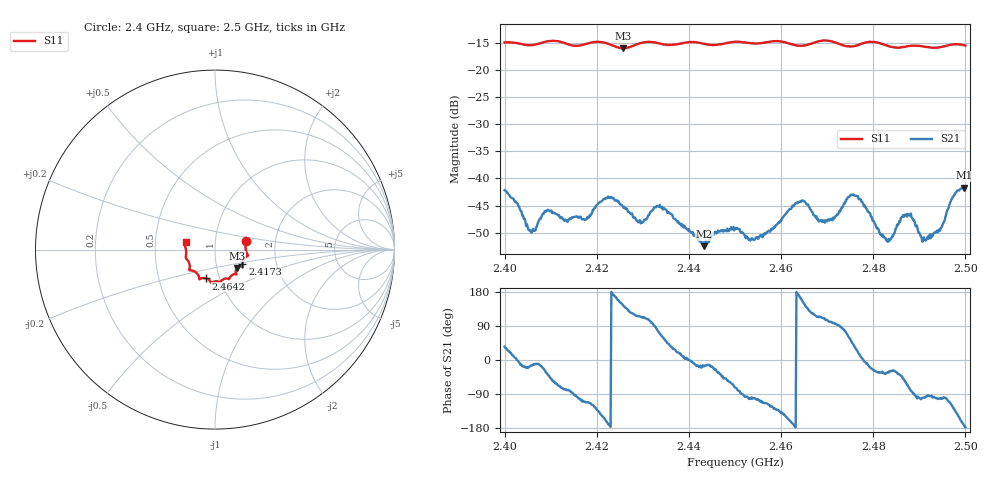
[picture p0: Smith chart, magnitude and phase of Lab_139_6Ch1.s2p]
# Hz S RI R 50
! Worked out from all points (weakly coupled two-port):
!   601 points, 2.4 GHz to 2.5 GHz, reference 50 ohm
!   highest |S21| = -41.70 dB at 2.4997 GHz (marker M1); lowest = -52.5 dB at 2.4433 GHz (marker M2)
!   lowest |S11| = -15.9 dB at 2.4257 GHz (marker M3), VSWR 1.38, Z = 62.4 - j13.1 ohm
!   |S11| at or under -10 dB: start of sweep to end of sweep
!   S12 and S22 are empty: the file has one direction only
!   S11 on the Smith chart (normalised r, x): 2.4 GHz: 1.41, +0.14; 2.4173 GHz: 1.34, -0.23; 2.4642 GHz: 0.86, -0.29; 2.5 GHz: 0.72, +0.06
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2.4e9  0.1734 0.0494  0.00636 0.00448  0 0  0 0
2.405667e9  0.1699 0.00524  0.00319 -0.000859  0 0  0 0
2.409167e9  0.1822 -0.0291  0.00414 -0.00288  0 0  0 0
2.416667e9  0.153 -0.0747  -0.00112 -0.00415  0 0  0 0
2.417333e9  0.1525 -0.0822  -0.00148 -0.0039  0 0  0 0
2.422e9  0.1511 -0.0946  -0.00629 -0.00216  0 0  0 0
2.425667e9  0.1225 -0.1021  -0.00447 0.00316  0 0  0 0
2.4295e9  0.1172 -0.134  -0.00159 0.0035  0 0  0 0
2.433333e9  0.113 -0.1369  0.00137 0.00539  0 0  0 0
2.443333e9  0.0675 -0.1612  0.00228 -0.000642  0 0  0 0
2.45e9  0.0297 -0.1808  0.00105 -0.00331  0 0  0 0
2.4555e9  -0.00255 -0.1777  -0.00103 -0.00281  0 0  0 0
2.464167e9  -0.0484 -0.1609  -0.00589 0.00166  0 0  0 0
2.466667e9  -0.0761 -0.1596  -0.00269 0.00413  0 0  0 0
2.471e9  -0.0869 -0.1632  -0.000679 0.00413  0 0  0 0
2.476167e9  -0.1186 -0.1193  0.00594 0.0035  0 0  0 0
2.483333e9  -0.1408 -0.0894  0.00231 -0.00152  0 0  0 0
2.487e9  -0.1555 -0.0562  0.00235 -0.00393  0 0  0 0
2.491e9  -0.1618 -0.0344  -0.000451 -0.00283  0 0  0 0
2.494e9  -0.1619 -0.00139  -0.000717 -0.00311  0 0  0 0
2.499667e9  -0.1657 0.04  -0.00815 -0.00115  0 0  0 0
2.5e9  -0.1637 0.0421  -0.00809 -0.00031  0 0  0 0
